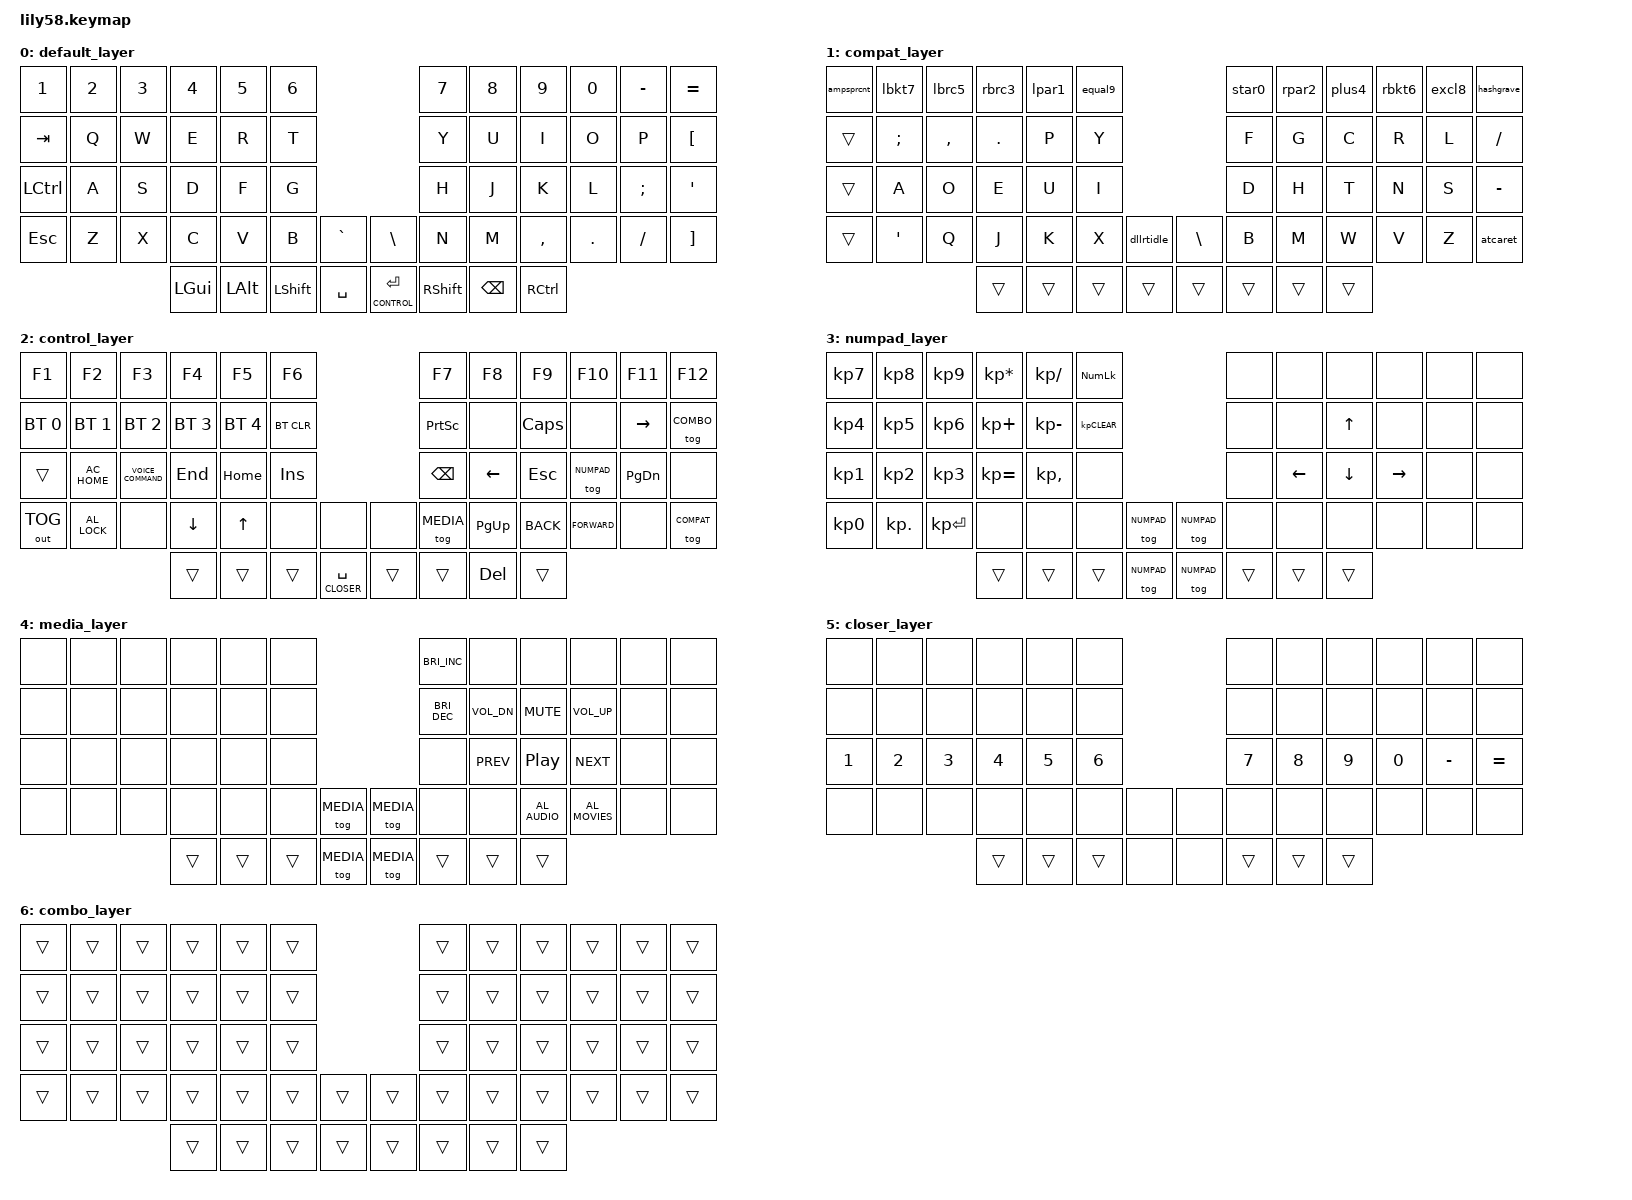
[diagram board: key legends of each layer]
/*
 * Copyright (c) 2020 The ZMK Contributors
 *
 * SPDX-License-Identifier: MIT
 */

#include <behaviors.dtsi>
#include <dt-bindings/zmk/bt.h>
#include <dt-bindings/zmk/keys.h>
#include <dt-bindings/zmk/outputs.h>

#define DEFAULT 0
#define COMPAT 1
#define CONTROL 2
#define NUMPAD 3
#define MEDIA 4
#define CLOSER 5
#define COMBO 6

&sk { quick-release; };

/ {
    behaviors {
        atcaret: at_caret {
            compatible = "zmk,behavior-mod-morph";
            bindings = <&kp AT>, <&kp CARET>;

            #binding-cells = <0>;
            mods = <(MOD_LSFT|MOD_RSFT)>;
        };

        hashgrave: hash_grave {
            compatible = "zmk,behavior-mod-morph";
            bindings = <&kp HASH>, <&kp GRAVE>;

            #binding-cells = <0>;
            mods = <(MOD_LSFT|MOD_RSFT)>;
        };

        excl8: excl_8 {
            compatible = "zmk,behavior-mod-morph";
            bindings = <&kp EXCL>, <&kp N8>;

            #binding-cells = <0>;
            mods = <(MOD_LSFT|MOD_RSFT)>;
        };

        rbkt6: rbkt_6 {
            compatible = "zmk,behavior-mod-morph";
            bindings = <&kp RBKT>, <&kp N6>;

            #binding-cells = <0>;
            mods = <(MOD_LSFT|MOD_RSFT)>;
        };

        plus4: plus_4 {
            compatible = "zmk,behavior-mod-morph";
            bindings = <&kp PLUS>, <&kp N4>;

            #binding-cells = <0>;
            mods = <(MOD_LSFT|MOD_RSFT)>;
        };

        rpar2: rpar_2 {
            compatible = "zmk,behavior-mod-morph";
            bindings = <&kp RPAR>, <&kp N2>;

            #binding-cells = <0>;
            mods = <(MOD_LSFT|MOD_RSFT)>;
        };

        star0: star_0 {
            compatible = "zmk,behavior-mod-morph";
            bindings = <&kp STAR>, <&kp N0>;

            #binding-cells = <0>;
            mods = <(MOD_LSFT|MOD_RSFT)>;
        };

        equal9: equal_9 {
            compatible = "zmk,behavior-mod-morph";
            bindings = <&kp EQUAL>, <&kp N9>;

            #binding-cells = <0>;
            mods = <(MOD_LSFT|MOD_RSFT)>;
        };

        lpar1: lpar_1 {
            compatible = "zmk,behavior-mod-morph";
            bindings = <&kp LPAR>, <&kp N1>;

            #binding-cells = <0>;
            mods = <(MOD_LSFT|MOD_RSFT)>;
        };

        rbrc3: rbrc_3 {
            compatible = "zmk,behavior-mod-morph";
            bindings = <&kp RBRC>, <&kp N3>;

            #binding-cells = <0>;
            mods = <(MOD_LSFT|MOD_RSFT)>;
        };

        lbrc5: lbrc_5 {
            compatible = "zmk,behavior-mod-morph";
            bindings = <&kp LBRC>, <&kp N5>;

            #binding-cells = <0>;
            mods = <(MOD_LSFT|MOD_RSFT)>;
        };

        lbkt7: lbkt_7 {
            compatible = "zmk,behavior-mod-morph";
            bindings = <&kp LBKT>, <&kp N7>;

            #binding-cells = <0>;
            mods = <(MOD_LSFT|MOD_RSFT)>;
        };

        ampsprcnt: amps_prcnt {
            compatible = "zmk,behavior-mod-morph";
            bindings = <&kp AMPS>, <&kp PRCNT>;

            #binding-cells = <0>;
            mods = <(MOD_LSFT|MOD_RSFT)>;
        };

        dllrtidle: dllr_tidle {
            compatible = "zmk,behavior-mod-morph";
            bindings = <&kp DLLR>, <&kp TILDE>;

            #binding-cells = <0>;
            mods = <(MOD_LSFT|MOD_RSFT)>;
        };
    };

    combos {
        compatible = "zmk,combos";

        fn {
            bindings = <&combo_fn>;
            key-positions = <18 33>;
            layers = <6>;
        };

        ds {
            bindings = <&combo_ds>;
            key-positions = <30 34>;
            layers = <6>;
        };

        dn {
            bindings = <&combo_dn>;
            key-positions = <30 33>;
            layers = <6>;
        };

        at {
            bindings = <&combo_at>;
            key-positions = <25 32>;
            layers = <6>;
        };

        fr {
            bindings = <&combo_fr>;
            key-positions = <18 21>;
            layers = <6>;
        };

        im {
            bindings = <&combo_im>;
            key-positions = <29 45>;
            layers = <6>;
        };

        cl {
            bindings = <&combo_cl>;
            key-positions = <20 22>;
            layers = <6>;
        };

        dt {
            bindings = <&combo_dt>;
            key-positions = <30 32>;
            layers = <6>;
        };

        dk {
            bindings = <&combo_dk>;
            key-positions = <30 40>;
            layers = <6>;
        };

        dc {
            bindings = <&combo_dc>;
            key-positions = <30 20>;
            layers = <6>;
        };

        dh {
            bindings = <&combo_dh>;
            key-positions = <30 31>;
            layers = <6>;
        };

        gc {
            bindings = <&combo_gc>;
            key-positions = <19 20>;
            layers = <6>;
        };

        gs {
            bindings = <&combo_gs>;
            key-positions = <19 34>;
            layers = <6>;
        };

        gp {
            bindings = <&combo_gp>;
            key-positions = <19 16>;
            layers = <6>;
        };

        gl {
            bindings = <&combo_gl>;
            key-positions = <19 22>;
            layers = <6>;
        };
    };

    macros {
        combo_fn: combo_fn {
            compatible = "zmk,behavior-macro";
            #binding-cells = <0>;
            bindings = <&kp Y &kp F &kp L &kp I &kp SPACE &kp N5 &kp N8 &kp SPACE &kp N3 &kp N4 &kp LEFT &kp LEFT &kp LEFT &kp LEFT &kp LEFT>;
            label = "COMBO_FN";
        };

        combo_ds: combo_ds {
            compatible = "zmk,behavior-macro";
            #binding-cells = <0>;
            bindings = <&kp SEMICOLON &kp D &kp K>;
            label = "COMBO_DS";
        };

        combo_dn: combo_dn {
            compatible = "zmk,behavior-macro";
            #binding-cells = <0>;
            bindings = <&kp P &kp G &kp SEMI &kp K>;
            label = "COMBO_DN";
        };

        combo_at: combo_at {
            compatible = "zmk,behavior-macro";
            #binding-cells = <0>;
            bindings = <&kp A &kp SEMI &kp SEMI &kp D &kp O &kp K>;
            label = "COMBO_AT";
        };

        combo_fr: combo_fr {
            compatible = "zmk,behavior-macro";
            #binding-cells = <0>;
            bindings = <&kp Y &kp O &kp S &kp M>;
            label = "COMBO_FR";
        };

        combo_im: combo_im {
            compatible = "zmk,behavior-macro";
            #binding-cells = <0>;
            bindings = <&kp G &kp M &kp R &kp S &kp O &kp K>;
            label = "COMBO_IM";
        };

        combo_cl: combo_cl {
            compatible = "zmk,behavior-macro";
            #binding-cells = <0>;
            bindings = <&kp I &kp P &kp A &kp SEMI &kp SEMI>;
            label = "COMBO_CL";
        };

        combo_dt: combo_dt {
            compatible = "zmk,behavior-macro";
            #binding-cells = <0>;
            bindings = <&kp H &kp A &kp K &kp A>;
            label = "COMBO_DT";
        };

        combo_dk: combo_dk {
            compatible = "zmk,behavior-macro";
            #binding-cells = <0>;
            bindings = <&kp H &kp S &kp I &kp V &kp D &kp O>;
            label = "COMBO_DK";
        };

        combo_dc: combo_dc {
            compatible = "zmk,behavior-macro";
            #binding-cells = <0>;
            bindings = <&kp H &kp S &kp I &kp V &kp D &kp O &kp SPACE &kp I &kp S &kp M &kp R &kp S &kp SEMI &kp D>;
            label = "COMBO_DC";
        };

        combo_dh: combo_dh {
            compatible = "zmk,behavior-macro";
            #binding-cells = <0>;
            bindings = <&kp H &kp G &kp I &kp K>;
            label = "COMBO_DH";
        };

        combo_gc: combo_gc {
            compatible = "zmk,behavior-macro";
            #binding-cells = <0>;
            bindings = <&kp U &kp G &kp K &kp SPACE &kp I &kp S &kp M &kp M &kp G &kp K>;
            label = "COMBO_GC";
        };

        combo_gs: combo_gs {
            compatible = "zmk,behavior-macro";
            #binding-cells = <0>;
            bindings = <&kp U &kp G &kp K &kp SPACE &kp SEMI &kp K &kp A &kp K &kp F &kp SEMI>;
            label = "COMBO_GS";
        };

        combo_gp: combo_gp {
            compatible = "zmk,behavior-macro";
            #binding-cells = <0>;
            bindings = <&kp U &kp G &kp K &kp SPACE &kp R &kp F &kp P &kp P>;
            label = "COMBO_GP";
        };

        combo_gl: combo_gl {
            compatible = "zmk,behavior-macro";
            #binding-cells = <0>;
            bindings = <&kp U &kp G &kp K &kp SPACE &kp SEMI &kp K &kp A &kp SEMI &kp J>;
            label = "COMBO_GL";
        };
    };

    keymap {
        compatible = "zmk,keymap";

        default_layer {
            // ------------------------------------------------------------------------------------------------------------
            // |  1    |  2  |  3  |  4   |  5   |  6   |                   |  7   |  8    |  9    |  0   |   -   |   =   |
            // |  TAB  |  Q  |  W  |  E   |  R   |  T   |                   |  Y   |  U    |  I    |  O   |   P   |   [   |
            // |  CTRL |  A  |  S  |  D   |  F   |  G   |                   |  H   |  J    |  K    |  L   |   ;   |   '   |
            // |  ESC  |  Z  |  X  |  C   |  V   |  B   |    `   |  |   \   |  N   |  M    |  ,    |  .   |   /   |   ]   |
            //                     | GUI  | ALT  | SHFT |  SPACE |  |ENTER/C| SHFT | BSPC  | CTRL  |

            bindings = <
&kp N1     &kp N2  &kp N3  &kp N4    &kp N5    &kp N6                                   &kp N7     &kp N8    &kp N9     &kp N0   &kp MINUS  &kp EQUAL
&kp TAB    &kp Q   &kp W   &kp E     &kp R     &kp T                                    &kp Y      &kp U     &kp I      &kp O    &kp P      &kp LBKT
&kp LCTRL  &kp A   &kp S   &kp D     &kp F     &kp G                                    &kp H      &kp J     &kp K      &kp L    &kp SEMI   &kp SQT
&kp ESC    &kp Z   &kp X   &kp C     &kp V     &kp B      &kp GRAVE    &kp BSLH         &kp N      &kp M     &kp COMMA  &kp DOT  &kp FSLH   &kp RBKT
                           &kp LGUI  &kp LALT  &kp LSHFT  &kp SPACE    &lt CONTROL RET  &kp RSHFT  &kp BSPC  &kp RCTRL
            >;
        };

        compat_layer {
            // ------------------------------------------------------------------------------------------------------------
            // |  &    |  [  |  {  |  }   |  (   |  =   |                   |  *   |  )    |  +    |  ]   |   !   |   #   |
            // |  TAB  |  ;  |  ,  |  .   |  P   |  Y   |                   |  F   |  G    |  C    |  R   |   L   |   /   |
            // |  CTRL |  A  |  O  |  E   |  U   |  I   |                   |  D   |  H    |  T    |  N   |   S   |   -   |
            // |  ESC  |  '  |  Q  |  J   |  K   |  X   |    ~   |  |   |   |  B   |  M    |  W    |  V   |   Z   |   @   |
            //                     | GUI  | ALT  | SHFT |  SPACE |  |ENTER/C| SHFT | BSPC  | CTRL  |

            bindings = <
&ampsprcnt  &lbkt7    &lbrc5     &rbrc3   &lpar1  &equal9                          &star0  &rpar2  &plus4  &rbkt6  &excl8  &hashgrave
&trans      &kp SEMI  &kp COMMA  &kp DOT  &kp P   &kp Y                            &kp F   &kp G   &kp C   &kp R   &kp L   &kp FSLH
&trans      &kp A     &kp O      &kp E    &kp U   &kp I                            &kp D   &kp H   &kp T   &kp N   &kp S   &kp MINUS
&trans      &kp SQT   &kp Q      &kp J    &kp K   &kp X    &dllrtidle    &kp BSLH  &kp B   &kp M   &kp W   &kp V   &kp Z   &atcaret
                                 &trans   &trans  &trans   &trans        &trans    &trans  &trans  &trans
            >;
        };

        control_layer {
            // ------------------------------------------------------------------------------------------------------------
            // |  F1   |  F2 |  F3 |  F4  |  F5  |  F6  |                   |  F7  |  F8   |  F9   |  F10 |  F11  |  F12  |
            // |  BT1  | BT2 | BT3 | BT4  | BT5  |BTCLR |                   |PSCRN |       | CAPS  |      |  ->   |       |
            // |       |CHOME|VOICE| END  | HOME | INS  |                   | BSPC |  <-   |  ESC  | NLAY | PGDN  |       |
            // | OTOG  |LOCK |     |  v   |  ^   |      |        |  |       | MLAY | PGUP  | BACK  | FRWD |       |COMPAT |
            //                     |      |      |      | CLOSER |  |       |      |  DEL  |       |

            bindings = <
&kp F1        &kp F2         &kp F3               &kp F4        &kp F5        &kp F6                                  &kp F7      &kp F8     &kp F9      &kp F10        &kp F11    &kp F12
&bt BT_SEL 0  &bt BT_SEL 1   &bt BT_SEL 2         &bt BT_SEL 3  &bt BT_SEL 4  &bt BT_CLR                              &kp PSCRN   &none      &kp CAPS    &none          &kp RIGHT  &tog COMBO
&trans        &kp C_AC_HOME  &kp C_VOICE_COMMAND  &kp END       &kp HOME      &kp INS                                 &kp BSPC    &kp LEFT   &kp ESC     &tog NUMPAD    &kp PG_DN  &none
&out OUT_TOG  &kp C_AL_LOCK  &none                &kp DOWN      &kp UP        &none       &none               &none   &tog MEDIA  &kp PG_UP  &kp K_BACK  &kp K_FORWARD  &none      &tog COMPAT
                                                  &trans        &trans        &trans      &lt CLOSER SPACE    &trans  &trans      &kp DEL    &trans
            >;
        };

        numpad_layer {
            // ------------------------------------------------------------------------------------------------------------
            // |   7   |  8  |  9  |  *   |  /   | NLCK |                   |      |       |       |      |       |       |
            // |   4   |  5  |  6  |  +   |  -   | CLR  |                   |      |       |   ^   |      |       |       |
            // |   1   |  2  |  3  |  =   |  ,   |      |                   |      |  <-   |   v   |  ->  |       |       |
            // |   0   |  .  | ENT |      |      |      |        |  |       |      |       |       |      |       |       |
            //                     |      |      |      |        |  |       |      |       |       |

            bindings = <
&kp KP_N7  &kp KP_N8   &kp KP_N9     &kp KP_MULTIPLY  &kp KP_DIVIDE  &kp KP_NLCK                               &none   &none     &none     &none      &none  &none
&kp KP_N4  &kp KP_N5   &kp KP_N6     &kp KP_PLUS      &kp KP_MINUS   &kp KP_CLEAR                              &none   &none     &kp UP    &none      &none  &none
&kp KP_N1  &kp KP_N2   &kp KP_N3     &kp KP_EQUAL     &kp KP_COMMA   &none                                     &none   &kp LEFT  &kp DOWN  &kp RIGHT  &none  &none
&kp KP_N0  &kp KP_DOT  &kp KP_ENTER  &none            &none          &none         &tog NUMPAD    &tog NUMPAD  &none   &none     &none     &none      &none  &none
                                     &trans           &trans         &trans        &tog NUMPAD    &tog NUMPAD  &trans  &trans    &trans
            >;
        };

        media_layer {
            // ------------------------------------------------------------------------------------------------------------
            // |       |     |     |      |      |      |                   | BINC |       |       |      |       |       |
            // |       |     |     |      |      |      |                   | BDEC | VOLDN | VMUTE |VOLUP |       |       |
            // |       |     |     |      |      |      |                   |      | PREV  |  P\P  | NEXT |       |       |
            // |       |     |     |      |      |      |        |  |       |      |       | MUSIC |MOVIE |       |       |
            //                     |      |      |      |        |  |       |      |       |       |

            bindings = <
&none  &none  &none  &none   &none   &none                             &kp C_BRI_INC  &none         &none           &none            &none  &none
&none  &none  &none  &none   &none   &none                             &kp C_BRI_DEC  &kp C_VOL_DN  &kp C_MUTE      &kp C_VOL_UP     &none  &none
&none  &none  &none  &none   &none   &none                             &none          &kp C_PREV    &kp C_PP        &kp C_NEXT       &none  &none
&none  &none  &none  &none   &none   &none   &tog MEDIA    &tog MEDIA  &none          &none         &kp C_AL_AUDIO  &kp C_AL_MOVIES  &none  &none
                     &trans  &trans  &trans  &tog MEDIA    &tog MEDIA  &trans         &trans        &trans
            >;
        };

        closer_layer {
            // ------------------------------------------------------------------------------------------------------------
            // |       |     |     |      |      |      |                   |      |       |       |      |       |       |
            // |       |     |     |      |      |      |                   |      |       |       |      |       |       |
            // |  1    |  2  |  3  |  4   |  5   |  6   |                   |  7   |  8    |  9    |  0   |   -   |   =   |
            // |       |     |     |      |      |      |        |  |       |      |       |       |      |       |       |
            //                     |      |      |      |        |  |       |      |       |       |

            bindings = <
&none   &none   &none   &none   &none   &none                   &none   &none   &none   &none   &none      &none
&none   &none   &none   &none   &none   &none                   &none   &none   &none   &none   &none      &none
&kp N1  &kp N2  &kp N3  &kp N4  &kp N5  &kp N6                  &kp N7  &kp N8  &kp N9  &kp N0  &kp MINUS  &kp EQUAL
&none   &none   &none   &none   &none   &none   &none    &none  &none   &none   &none   &none   &none      &none
                        &trans  &trans  &trans  &none    &none  &trans  &trans  &trans
            >;
        };

        combo_layer {
            bindings = <
&trans  &trans  &trans  &trans  &trans  &trans                    &trans  &trans  &trans  &trans  &trans  &trans
&trans  &trans  &trans  &trans  &trans  &trans                    &trans  &trans  &trans  &trans  &trans  &trans
&trans  &trans  &trans  &trans  &trans  &trans                    &trans  &trans  &trans  &trans  &trans  &trans
&trans  &trans  &trans  &trans  &trans  &trans  &trans    &trans  &trans  &trans  &trans  &trans  &trans  &trans
                        &trans  &trans  &trans  &trans    &trans  &trans  &trans  &trans
            >;
        };
    };
};

// vim: set et ts=4 sw=4:
